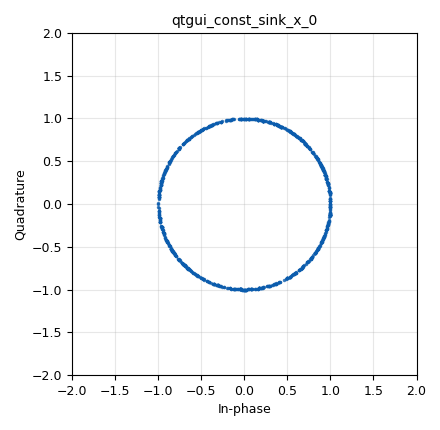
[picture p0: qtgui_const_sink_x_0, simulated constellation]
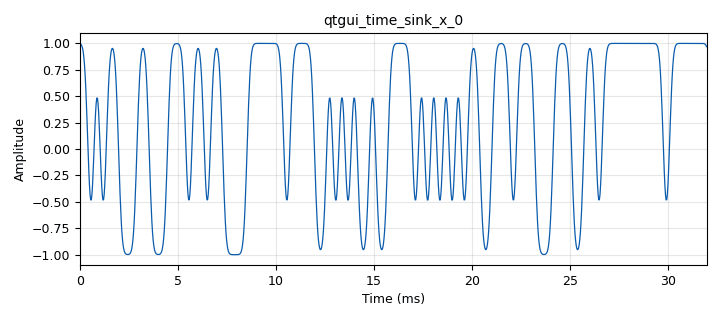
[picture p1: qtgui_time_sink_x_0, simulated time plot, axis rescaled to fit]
options:
  parameters:
    author: Devansh_104
    generate_options: qt_gui
    id: gfsk2
    output_language: python
    title: GFSK
  states: {}

blocks:
- name: beta
  id: variable_qtgui_range
  parameters:
    comment: 0,0,1,1
    gui_hint: 0,6,1,1
    label: k3(IP3)
    start: '-0.1'
    step: '0.001'
    stop: '0'
    value: '0'
    widget: dial
  states: {}
- name: const_size
  id: variable
  parameters:
    value: '4'
  states: {}
- name: freq_offset
  id: variable_qtgui_range
  parameters:
    comment: 0,0,1,1
    gui_hint: 0,1,1,1
    label: ' frequency offset'
    start: '-0.5'
    step: '0.001'
    stop: '0.5'
    value: '0'
  states: {}
- name: i_ofs
  id: variable_qtgui_range
  parameters:
    comment: 0,0,1,1
    gui_hint: 0,4,1,1
    label: I offset
    start: '-1'
    step: '0.001'
    stop: '1'
    value: '0'
  states: {}
- name: magbal
  id: variable_qtgui_range
  parameters:
    comment: 0,0,1,1
    gui_hint: 0,2,1,1
    label: IQ Magnitude imbalance
    start: '0'
    step: '0.1'
    stop: '10'
    value: '0'
    widget: eng
  states: {}
- name: phase_noise_mag
  id: variable_qtgui_range
  parameters:
    comment: 0,0,1,1
    label: ' phase noise '
    start: '-100'
    step: '1'
    stop: '0'
    value: '-100'
    widget: eng
  states: {}
- name: phasebal
  id: variable_qtgui_range
  parameters:
    comment: 0,0,1,1
    gui_hint: 0,3,1,1
    label: IQ Phase imbalance
    start: '0'
    step: '0.1'
    stop: '45'
    value: '0'
    widget: eng_slider
  states: {}
- name: q_ofs
  id: variable_qtgui_range
  parameters:
    comment: 0,0,1,1
    gui_hint: 0,5,1,1
    label: Q offset
    start: '-1'
    step: '0.001'
    stop: '1'
    value: '0'
    widget: dial
  states: {}
- name: samp_rate
  id: variable
  parameters:
    value: '32000'
  states: {}
- name: analog_quadrature_demod_cf_0
  id: analog_quadrature_demod_cf
  parameters:
    gain: '1'
  states: {}
- name: analog_random_source_x_0
  id: analog_random_source_x
  parameters:
    max: '256'
    min: '0'
    num_samps: '100000'
    repeat: 'True'
    type: byte
  states: {}
- name: blocks_throttle2_0
  id: blocks_throttle2
  parameters:
    samples_per_second: samp_rate
    type: complex
  states: {}
- name: digital_gfsk_mod_0
  id: digital_gfsk_mod
  parameters:
    bt: '0.3'
    samples_per_symbol: '10'
    sensitivity: '1.0'
  states: {}
- name: import_1
  id: import
  parameters:
    imports: import math
  states: {}
- name: qtgui_const_sink_x_0
  id: qtgui_const_sink_x
  parameters:
    size: '1024'
    type: complex
  states: {}
- name: qtgui_time_sink_x_0
  id: qtgui_time_sink_x
  parameters:
    size: '1024'
    srate: samp_rate
    type: float
  states: {}
- name: virtual_sink_0
  id: virtual_sink
  parameters:
    stream_id: '39'
  states: {}
- name: virtual_source_0
  id: virtual_source
  parameters:
    stream_id: '39'
  states: {}

connections:
- [analog_quadrature_demod_cf_0, '0', qtgui_time_sink_x_0, '0']
- [analog_random_source_x_0, '0', digital_gfsk_mod_0, '0']
- [blocks_throttle2_0, '0', virtual_sink_0, '0']
- [digital_gfsk_mod_0, '0', blocks_throttle2_0, '0']
- [virtual_source_0, '0', analog_quadrature_demod_cf_0, '0']
- [virtual_source_0, '0', qtgui_const_sink_x_0, '0']

metadata:
  file_format: 1
  grc_version: 3.10.10.0
